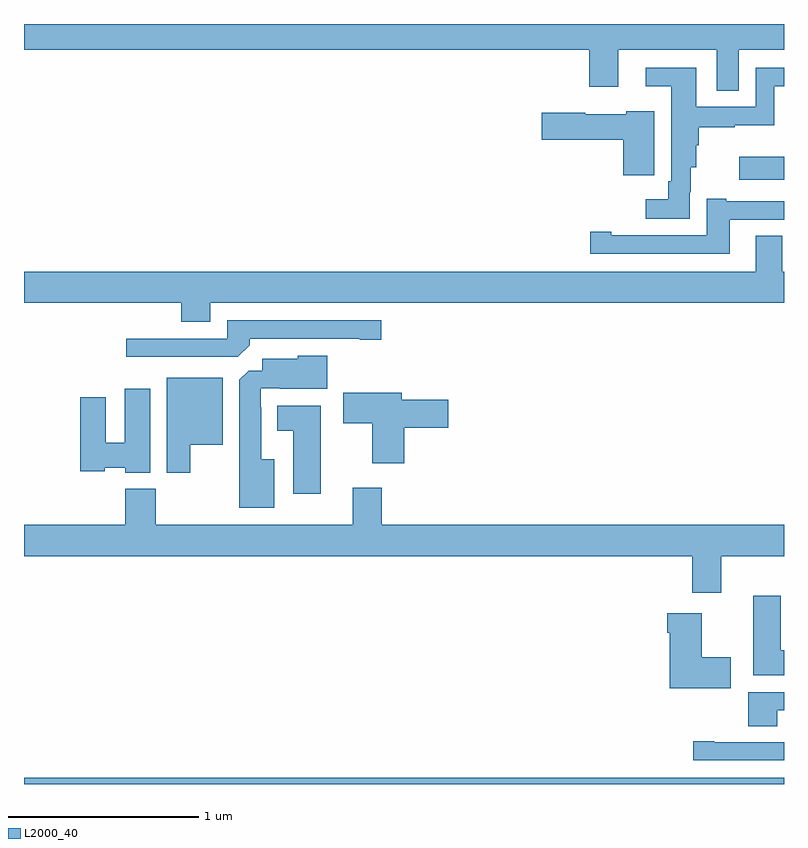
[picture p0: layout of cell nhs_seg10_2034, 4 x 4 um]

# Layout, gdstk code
import gdstk
lib = gdstk.Library(unit=1e-6, precision=1e-09)
def R(c, l, rs):  # rectangles x0, y0, x1, y1
    for r in rs: c.add(gdstk.rectangle(r[:2], r[2:], *l))
def P(c, l, *ps):  # polygons
    for p in ps: c.add(gdstk.Polygon(p, *l))
L2000_40 = (2000, 40)

nhs_seg10_2034 = lib.new_cell('nhs_seg10_2034')
R(nhs_seg10_2034, L2000_40, [(219,1248.5,223,1248.532), (222.765,1251.68,223,1251.802)])
P(nhs_seg10_2034, L2000_40, [(222.763,1252.364),(223,1252.364),(223,1252.5),(219,1252.5),(219,1252.364),(221.975,1252.364),(221.975,1252.17),(222.127,1252.17),(222.127,1252.364),(222.647,1252.364),(222.647,1252.15),(222.763,1252.15)],
  [(222.504,1251.615),(222.509,1251.615),(222.509,1251.746),(222.538,1251.746),(222.538,1251.861),(222.551,1251.861),(222.551,1251.957),(222.74,1251.957),(222.74,1251.968),(222.948,1251.968),(222.948,1252.173),(223,1252.173),(223,1252.269),(222.852,1252.269),(222.852,1252.065),(222.538,1252.065),(222.538,1252.269),(222.273,1252.269),(222.273,1252.172),(222.407,1252.172),(222.407,1251.673),(222.39,1251.673),(222.39,1251.577),(222.273,1251.577),(222.273,1251.476),(222.504,1251.476)],
  [(222.316,1252.042),(222.171,1252.042),(222.171,1252.024),(221.954,1252.024),(221.954,1252.032),(221.724,1252.032),(221.724,1251.89),(222.155,1251.89),(222.155,1251.705),(222.316,1251.705)],
  [(222.715,1251.471),(223,1251.471),(223,1251.567),(222.697,1251.567),(222.697,1251.58),(222.593,1251.58),(222.593,1251.387),(222.091,1251.387),(222.091,1251.407),(221.979,1251.407),(221.979,1251.291),(222.715,1251.291)],
  [(219.979,1251.032),(223,1251.032),(223,1251.196),(222.991,1251.196),(222.991,1251.386),(222.851,1251.386),(222.851,1251.196),(219,1251.196),(219,1251.032),(219.827,1251.032),(219.827,1250.933),(219.979,1250.933)],
  [(220.187,1250.81),(220.187,1250.844),(220.766,1250.844),(220.766,1250.839),(220.879,1250.839),(220.879,1250.94),(220.071,1250.94),(220.071,1250.844),(219.537,1250.844),(219.537,1250.748),(220.125,1250.748)],
  [(220.318,1250.209),(220.249,1250.209),(220.249,1250.483),(220.245,1250.483),(220.245,1250.583),(220.345,1250.583),(220.345,1250.579),(220.597,1250.579),(220.597,1250.755),(220.44,1250.755),(220.44,1250.737),(220.253,1250.737),(220.253,1250.676),(220.182,1250.676),(220.133,1250.627),(220.133,1249.955),(220.318,1249.955)],
  [(219.874,1250.285),(220.045,1250.285),(220.045,1250.638),(219.752,1250.638),(219.752,1250.139),(219.874,1250.139)],
  [(219.664,1250.581),(219.53,1250.581),(219.53,1250.295),(219.43,1250.295),(219.43,1250.536),(219.296,1250.536),(219.296,1250.147),(219.426,1250.147),(219.426,1250.165),(219.534,1250.165),(219.534,1250.138),(219.664,1250.138)],
  [(221,1250.375),(221.233,1250.375),(221.233,1250.522),(220.987,1250.522),(220.987,1250.56),(220.68,1250.56),(220.68,1250.398),(220.832,1250.398),(220.832,1250.187),(221,1250.187)],
  [(220.561,1250.491),(220.334,1250.491),(220.334,1250.36),(220.418,1250.36),(220.418,1250.028),(220.561,1250.028)],
  [(222.67,1249.7),(223,1249.7),(223,1249.864),(220.883,1249.864),(220.883,1250.059),(220.73,1250.059),(220.73,1249.864),(219.693,1249.864),(219.693,1250.053),(219.533,1250.053),(219.533,1249.864),(219,1249.864),(219,1249.7),(222.518,1249.7),(222.518,1249.506),(222.67,1249.506)],
  [(223,1249.204),(222.982,1249.204),(222.982,1249.492),(222.839,1249.492),(222.839,1249.073),(223,1249.073)],
  [(222.721,1249.167),(222.568,1249.167),(222.568,1249.399),(222.386,1249.399),(222.386,1249.295),(222.398,1249.295),(222.398,1249.004),(222.721,1249.004)],
  [(222.964,1248.888),(223,1248.888),(223,1248.984),(222.812,1248.984),(222.812,1248.805),(222.964,1248.805)],
  [(223,1248.72),(222.634,1248.72),(222.634,1248.725),(222.522,1248.725),(222.522,1248.624),(223,1248.624)])

lib.write_gds('nhs_seg10_2034.gds')
